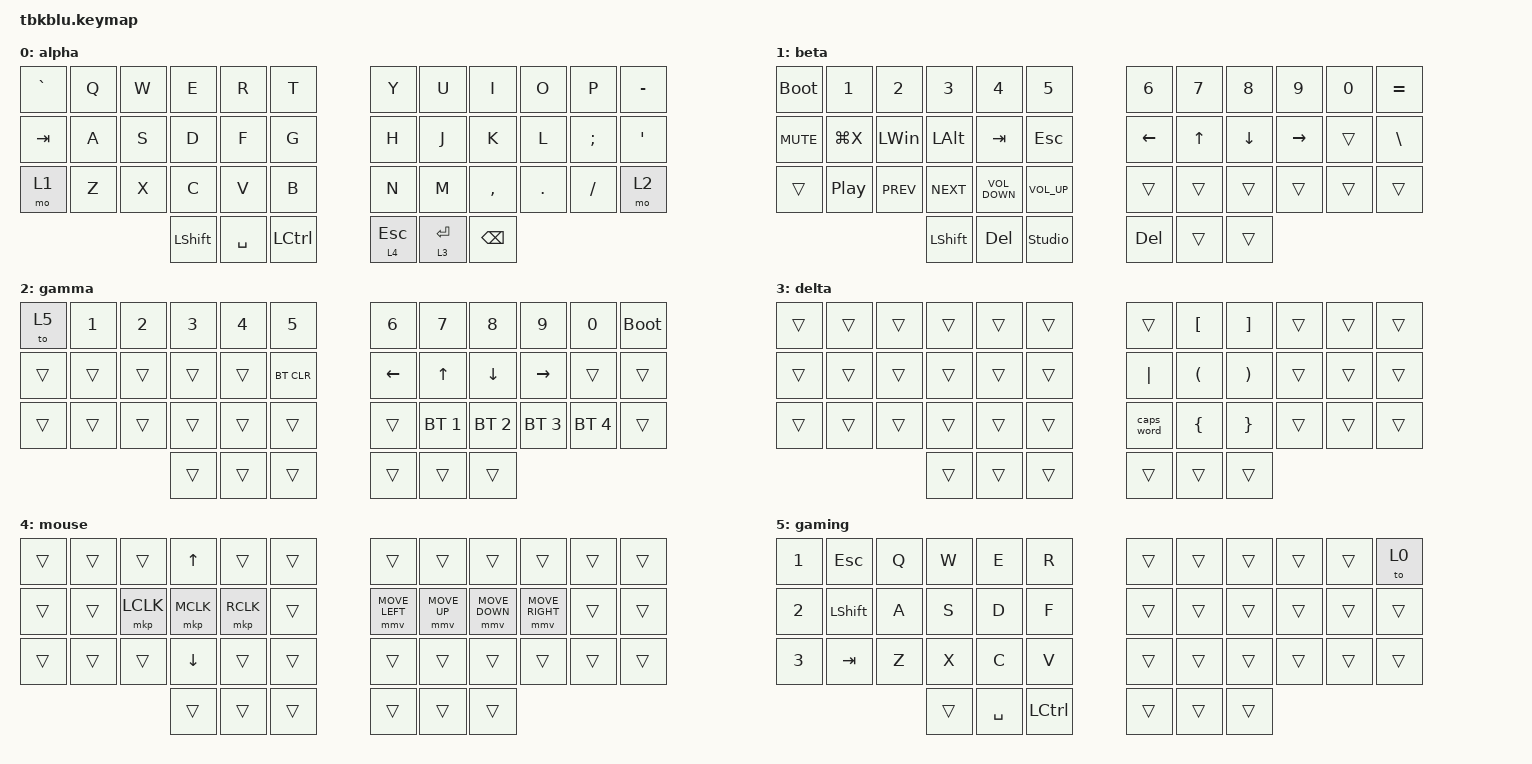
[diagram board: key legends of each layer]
#include <behaviors/mouse_keys.dtsi>
#include <dt-bindings/zmk/mouse.h>
#include <behaviors.dtsi>
#include <dt-bindings/zmk/bt.h>
#include <dt-bindings/zmk/keys.h>
#include <dt-bindings/zmk/pointing.h>
#include "boards/shields/tbkblue/tbkblu-layout.dtsi"

#define ZMK_MOUSE_DEFAULT_MOVE_VAL 1500  // 600

&caps_word { continue-list = <UNDERSCORE MINUS SPACE>; };

&mmv {
    acceleration-exponent = <1>;
    delay-ms = <0>;
    time-to-max-speed-ms = <500>;             /* <--- How long time until max speed is reached (default: 500) */
};

&mt {
    quick-tap-ms = <65>;
    flavor = "tap-preferred";
    tapping-term-ms = <90>;
};

/ {
    behaviors {
        mouse_mode: mouse_mode {
            compatible = "zmk,behavior-hold-tap";
            label = "MOUSE_MODE";
            bindings = <&mo>, <&kp>;

            #binding-cells = <2>;
            tapping-term-ms = <150>;
            flavor = "balanced";
            quick-tap-ms = <0>;
        };
    };

    keymap {
        compatible = "zmk,keymap";

        alpha {
            bindings = <
&kp GRAVE  &kp Q  &kp W  &kp E       &kp R      &kp T        &kp Y                 &kp U                &kp I      &kp O    &kp P     &kp MINUS
&kp TAB    &kp A  &kp S  &kp D       &kp F      &kp G        &kp H                 &kp J                &kp K      &kp L    &kp SEMI  &kp SQT
&mo 1      &kp Z  &kp X  &kp C       &kp V      &kp B        &kp N                 &kp M                &kp COMMA  &kp DOT  &kp FSLH  &mo 2
                         &kp LSHIFT  &kp SPACE  &kp LCTRL    &mouse_mode 4 ESCAPE  &mouse_mode 3 ENTER  &kp BSPC
            >;
        };

        beta {
            bindings = <
&bootloader  &kp N1     &kp N2        &kp N3        &kp N4             &kp N5            &kp N6    &kp N7  &kp N8    &kp N9     &kp N0  &kp EQUAL
&kp C_MUTE   &kp LG(X)  &kp LEFT_WIN  &kp LEFT_ALT  &kp TAB            &kp ESC           &kp LEFT  &kp UP  &kp DOWN  &kp RIGHT  &trans  &kp BSLH
&trans       &kp C_PP   &kp C_PREV    &kp C_NEXT    &kp C_VOLUME_DOWN  &kp C_VOL_UP      &trans    &trans  &trans    &trans     &trans  &trans
                                      &kp LSHIFT    &kp DEL            &studio_unlock    &kp DEL   &trans  &trans
            >;
        };

        gamma {
            bindings = <
&to 5   &kp N1  &kp N2  &kp N3  &kp N4  &kp N5        &kp N6    &kp N7        &kp N8        &kp N9        &kp N0        &bootloader
&trans  &trans  &trans  &trans  &trans  &bt BT_CLR    &kp LEFT  &kp UP        &kp DOWN      &kp RIGHT     &trans        &trans
&trans  &trans  &trans  &trans  &trans  &trans        &trans    &bt BT_SEL 1  &bt BT_SEL 2  &bt BT_SEL 3  &bt BT_SEL 4  &trans
                        &trans  &trans  &trans        &trans    &trans        &trans
            >;
        };

        delta {
            bindings = <
&trans  &trans  &trans  &trans  &trans  &trans    &trans      &kp LEFT_BRACKET      &kp RIGHT_BRACKET      &trans  &trans  &trans
&trans  &trans  &trans  &trans  &trans  &trans    &kp PIPE    &kp LEFT_PARENTHESIS  &kp RIGHT_PARENTHESIS  &trans  &trans  &trans
&trans  &trans  &trans  &trans  &trans  &trans    &caps_word  &kp LEFT_BRACE        &kp RIGHT_BRACE        &trans  &trans  &trans
                        &trans  &trans  &trans    &trans      &trans                &trans
            >;
        };

        mouse {
            bindings = <
&trans  &trans  &trans     &kp UP_ARROW  &trans     &trans    &trans          &trans        &trans          &trans           &trans  &trans
&trans  &trans  &mkp LCLK  &mkp MCLK     &mkp RCLK  &trans    &mmv MOVE_LEFT  &mmv MOVE_UP  &mmv MOVE_DOWN  &mmv MOVE_RIGHT  &trans  &trans
&trans  &trans  &trans     &kp DOWN      &trans     &trans    &trans          &trans        &trans          &trans           &trans  &trans
                           &trans        &trans     &trans    &trans          &trans        &trans
            >;
        };

        gaming {
            bindings = <
&kp N1  &kp ESC    &kp Q  &kp W   &kp E      &kp R        &trans  &trans  &trans  &trans  &trans  &to 0
&kp N2  &kp LSHFT  &kp A  &kp S   &kp D      &kp F        &trans  &trans  &trans  &trans  &trans  &trans
&kp N3  &kp TAB    &kp Z  &kp X   &kp C      &kp V        &trans  &trans  &trans  &trans  &trans  &trans
                          &trans  &kp SPACE  &kp LCTRL    &trans  &trans  &trans
            >;
        };
    };
};
